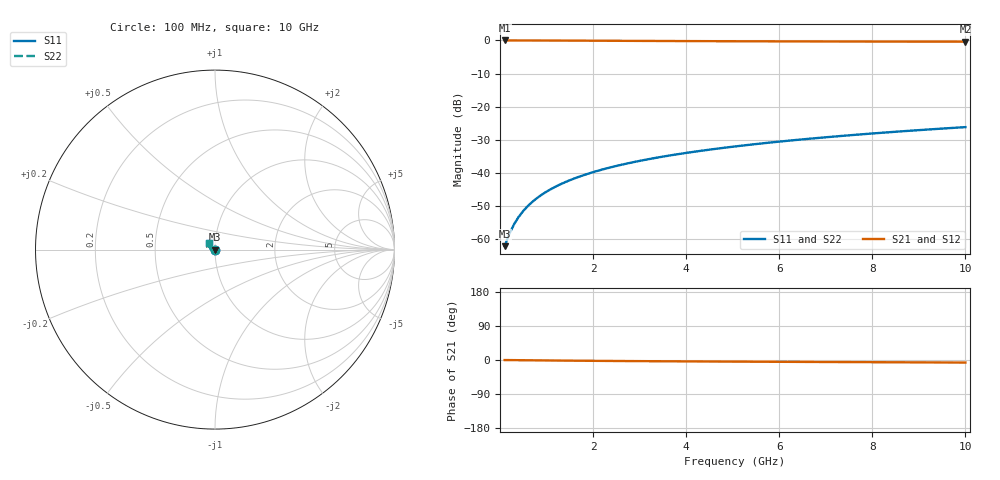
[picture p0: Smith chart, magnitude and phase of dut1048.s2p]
! Touchstone file exported from HFSS 2024.1.0
!  File:  C:/UserFiles/LocalFiles/RDL_TSV_Batchsim/temp_TSV1_1048_1780062442.aedt
!  Generated:  09:52:57 PM May 29, 2026
!  Design:  TSV1
!  Project:  temp_TSV1_1048_1780062442
!  Setup:  Setup1
!  Solution:  Sweep
! Variables:
!  dtsv = 5.16um
!  hbump = 3um
!  htsv = 99.38um
!  lrdl = 252.1521522um
!  p = 40
!  p1 = 54.1um
!  t = 500um
!  trdl = 3um
!  wrdl = 24.89489489um
# GHz S MA R 50.000000
! Terminal data exported
! Port[1] = TSV22_T1
! Port[2] = TSV22_T2
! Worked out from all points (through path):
!   100 points, 100 MHz to 10 GHz, reference 50 ohm
!   highest |S21| = -0.01 dB at 100 MHz (marker M1); lowest = -0.4 dB at 10 GHz (marker M2)
!   lowest |S11| = -62.0 dB at 100 MHz (marker M3), VSWR 1.00, Z = 50.1 - j0.0542 ohm
!   |S11| at or under -10 dB: start of sweep to end of sweep
!   |S22| runs from -62.0 to -26.1 dB; largest |S21 - S12| = 5.3e-15
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0.1  0.0007928 -43.1  0.9994 -0.1  0.9994 -0.1  0.0007928 -43.1
! Gamma 0 0 0 0
! Port Impedance 50 0 50 0
0.2  0.001207 -65.1  0.9993 -0.2  0.9993 -0.2  0.001207 -65.1
0.3  0.001683 -76.9  0.9991 -0.4  0.9991 -0.4  0.001683 -76.9
0.4  0.002181 -84.6  0.999 -0.5  0.999 -0.5  0.002181 -84.6
0.5  0.002688 -90.4  0.9987 -0.6  0.9987 -0.6  0.002688 -90.4
0.6  0.003199 -95.2  0.9984 -0.7  0.9984 -0.7  0.003199 -95.2
0.7  0.003713 -99.4  0.9981 -0.8  0.9981 -0.8  0.003713 -99.4
0.9  0.004742 -106.8  0.9974 -1.1  0.9974 -1.1  0.004742 -106.8
1  0.005256 -110.1  0.9969 -1.2  0.9969 -1.2  0.005256 -110.1
1.2  0.006282 -116.3  0.9959 -1.4  0.9959 -1.4  0.006282 -116.3
1.5  0.007813 -124.9  0.9942 -1.7  0.9942 -1.7  0.007813 -124.9
1.8  0.009331 -132.7  0.9923 -2.0  0.9923 -2.0  0.009331 -132.7
2.1  0.01084 -140.0  0.9903 -2.3  0.9903 -2.3  0.01084 -140.0
2.5  0.01283 -148.9  0.9875 -2.6  0.9875 -2.6  0.01283 -148.9
2.9  0.0148 -157.1  0.9847 -2.9  0.9847 -2.9  0.0148 -157.1
3.4  0.01724 -166.3  0.9814 -3.3  0.9814 -3.3  0.01724 -166.3
4.2  0.02113 -178.9  0.9765 -3.8  0.9765 -3.8  0.02113 -178.9
5.1  0.02548 169.4  0.9719 -4.3  0.9719 -4.3  0.02548 169.4
5.9  0.02936 160.8  0.9685 -4.7  0.9685 -4.7  0.02936 160.8
6.7  0.03325 153.5  0.9657 -5.1  0.9657 -5.1  0.03325 153.5
8.4  0.04154 141.3  0.9611 -6.0  0.9611 -6.0  0.04153 141.3
10  0.04936 132.6  0.9579 -6.8  0.9579 -6.8  0.04936 132.6
